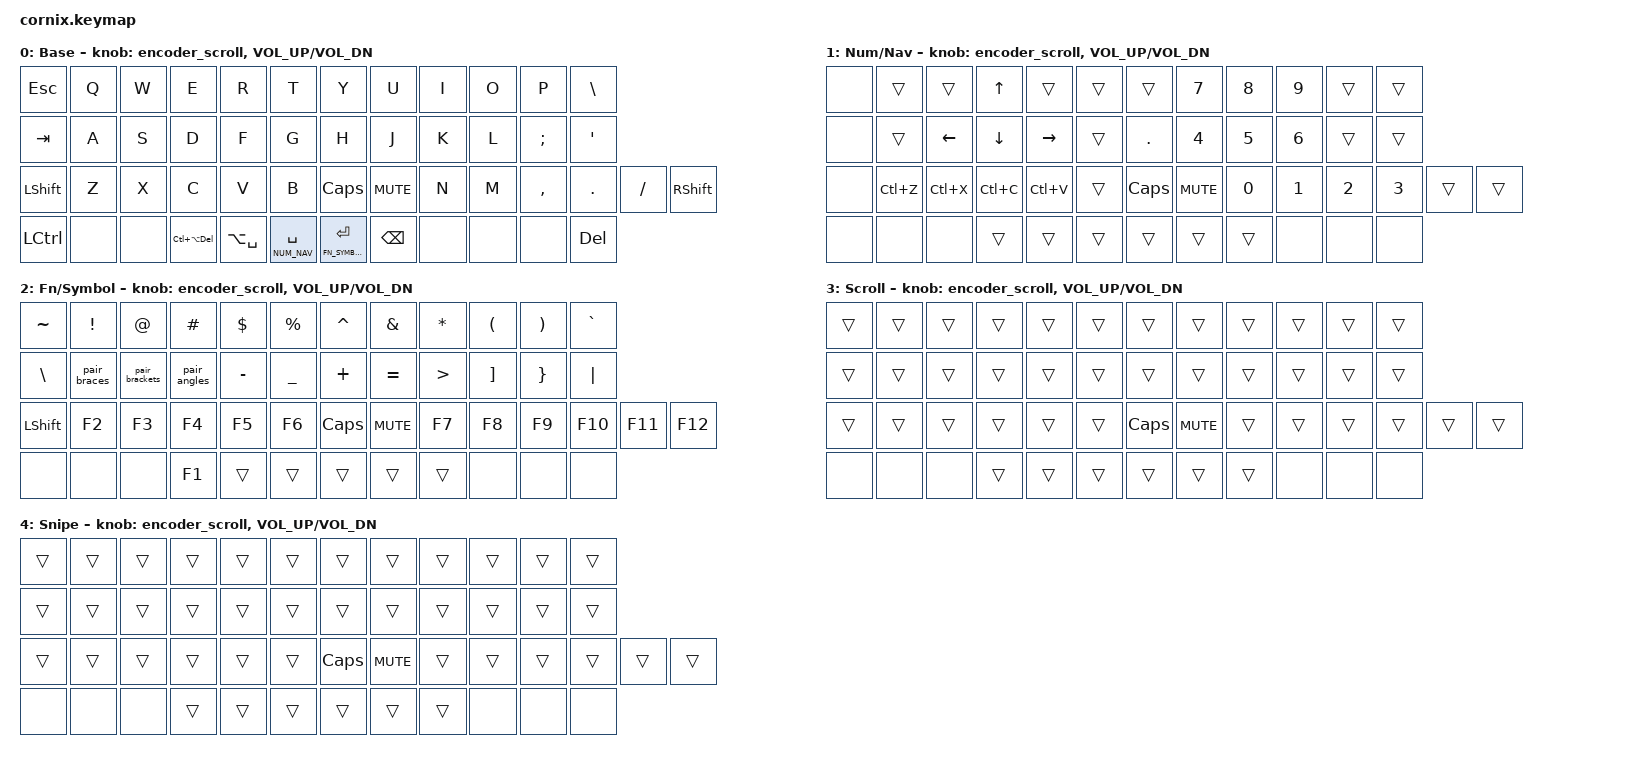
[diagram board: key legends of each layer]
/*
 * Copyright (c) 2020 The ZMK Contributors
 *
 * SPDX-License-Identifier: MIT
 */

#include <behaviors.dtsi>
#include <dt-bindings/zmk/keys.h>
#include <dt-bindings/zmk/pointing.h>

#define BASE 0
#define NUM_NAV 1
#define FN_SYMBOLS 2
#define SCROLL 3
#define SNIPE 4

/* Layer-tap keys used by the two inner thumb positions. */

&lt {
    flavor = "balanced";
    tapping-term-ms = <180>;
    quick-tap-ms = <150>;
};

/ {
    behaviors {
        // A short scroll pulse for each encoder detent; CW down, CCW up.
        encoder_scroll: encoder_scroll {
            compatible = "zmk,behavior-sensor-rotate";
            #sensor-binding-cells = <0>;
            tap-ms = <30>;
            bindings = <&msc MOVE_Y(-100)>, <&msc MOVE_Y(100)>;
        };
    };

    // Tap opening bracket, closing bracket, then move the caret between them.
    macros {
        pair_braces: pair_braces {
            compatible = "zmk,behavior-macro";
            #binding-cells = <0>;
            wait-ms = <20>;
            tap-ms = <20>;
            bindings = <&macro_tap &kp LBRC &kp RBRC &kp LEFT>;
        };
        pair_brackets: pair_brackets {
            compatible = "zmk,behavior-macro";
            #binding-cells = <0>;
            wait-ms = <20>;
            tap-ms = <20>;
            bindings = <&macro_tap &kp LBKT &kp RBKT &kp LEFT>;
        };
        pair_angles: pair_angles {
            compatible = "zmk,behavior-macro";
            #binding-cells = <0>;
            wait-ms = <20>;
            tap-ms = <20>;
            bindings = <&macro_tap &kp LT &kp GT &kp LEFT>;
        };
    };

    keymap {
        compatible = "zmk,keymap";

        base_layer {
            display-name = "Base";

            // Imported from keymap-drawer/cornix-edited.html.
            // Binding rows: 0-11, 12-23, 24-37, 38-49.

            bindings = <
&kp ESC              &kp Q                &kp W                &kp E                &kp R                &kp T                &kp Y                &kp U                &kp I                &kp O                &kp P                &kp BSLH
&kp TAB              &kp A                &kp S                &kp D                &kp F                &kp G                &kp H                &kp J                &kp K                &kp L                &kp SEMI             &kp SQT
&kp LEFT_SHIFT       &kp Z                &kp X                &kp C                &kp V                &kp B                &kp CAPSLOCK                &kp C_MUTE                &kp N                &kp M                &kp COMMA            &kp DOT              &kp FSLH             &kp RIGHT_SHIFT
&kp LEFT_CONTROL     &none                &none                &kp LC(LA(DELETE))         &kp LA(SPACE)         &lt NUM_NAV SPACE    &lt FN_SYMBOLS ENTER &kp BACKSPACE        &none                &none                &none                &kp DELETE
            >;

            sensor-bindings = <&encoder_scroll &inc_dec_kp C_VOL_UP C_VOL_DN>;
        };

        num_nav_layer {
            display-name = "Num/Nav";

            // Left column: unassigned. Z/X/C/V: Ctrl shortcuts.
            // Right digits: 789 / 456 / 0123, with decimal above zero.

            bindings = <
&none            &trans           &trans           &kp UP           &trans           &trans           &trans           &kp N7           &kp N8           &kp N9           &trans           &trans
&none            &trans           &kp LEFT         &kp DOWN         &kp RIGHT        &trans           &kp DOT          &kp N4           &kp N5           &kp N6           &trans           &trans
&none            &kp LC(Z)        &kp LC(X)        &kp LC(C)        &kp LC(V)        &trans           &kp CAPSLOCK            &kp C_MUTE            &kp N0           &kp N1           &kp N2           &kp N3           &trans           &trans
&none            &none            &none            &trans           &trans           &trans           &trans           &trans           &trans           &none            &none            &none
            >;

            sensor-bindings = <&encoder_scroll &inc_dec_kp C_VOL_UP C_VOL_DN>;
        };

        fn_symbols_layer {
            display-name = "Fn/Symbol";

            // Keep left Shift available; F1 is on the base Caps thumb position.
            // Binding rows: 0-11, 12-23, 24-37, 38-49.

            bindings = <
&kp TILDE            &kp EXCL             &kp AT               &kp HASH             &kp DLLR             &kp PRCNT            &kp CARET            &kp AMPS             &kp ASTRK            &kp LPAR             &kp RPAR             &kp GRAVE
&kp BSLH             &pair_braces         &pair_brackets       &pair_angles               &kp MINUS            &kp UNDER            &kp PLUS             &kp EQUAL            &kp GT               &kp RBKT             &kp RBRC             &kp PIPE
&kp LEFT_SHIFT       &kp F2               &kp F3               &kp F4               &kp F5               &kp F6               &kp CAPSLOCK                &kp C_MUTE                &kp F7               &kp F8               &kp F9               &kp F10              &kp F11              &kp F12
&none                &none                &none                &kp F1               &trans               &trans               &trans               &trans               &trans               &none                &none                &none
            >;

            sensor-bindings = <&encoder_scroll &inc_dec_kp C_VOL_UP C_VOL_DN>;
        };

        scroll_layer {
            display-name = "Scroll";

            bindings = <
&trans  &trans  &trans  &trans  &trans  &trans                  &trans  &trans  &trans  &trans  &trans  &trans
&trans  &trans  &trans  &trans  &trans  &trans                  &trans  &trans  &trans  &trans  &trans  &trans
&trans  &trans  &trans  &trans  &trans  &trans  &kp CAPSLOCK  &kp C_MUTE    &trans  &trans  &trans  &trans  &trans  &trans
&none   &none   &none   &trans  &trans  &trans                  &trans  &trans  &trans  &none   &none   &none
            >;

            sensor-bindings = <&encoder_scroll &inc_dec_kp C_VOL_UP C_VOL_DN>;
        };

        snipe_layer {
            display-name = "Snipe";

            bindings = <
&trans  &trans  &trans  &trans  &trans  &trans                  &trans  &trans  &trans  &trans  &trans  &trans
&trans  &trans  &trans  &trans  &trans  &trans                  &trans  &trans  &trans  &trans  &trans  &trans
&trans  &trans  &trans  &trans  &trans  &trans  &kp CAPSLOCK  &kp C_MUTE    &trans  &trans  &trans  &trans  &trans  &trans
&none   &none   &none   &trans  &trans  &trans                  &trans  &trans  &trans  &none   &none   &none
            >;

            sensor-bindings = <&encoder_scroll &inc_dec_kp C_VOL_UP C_VOL_DN>;
        };
    };
};
